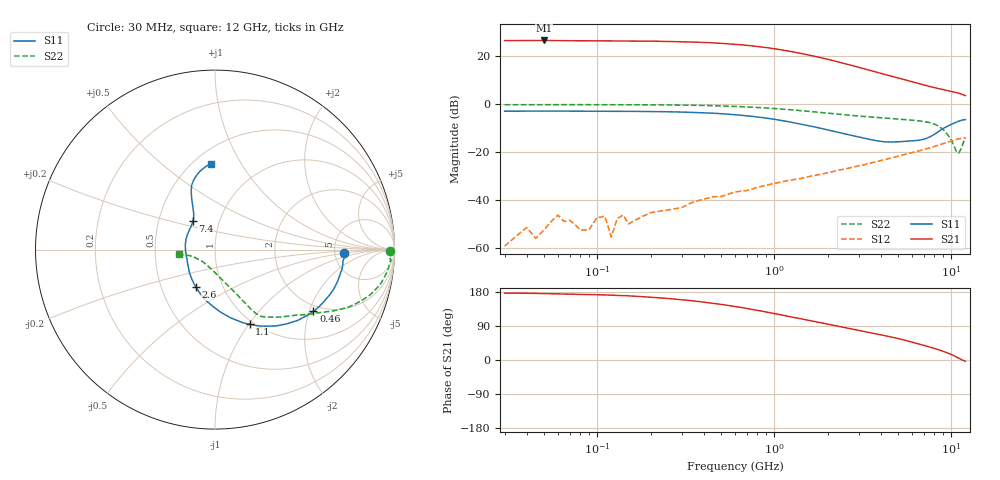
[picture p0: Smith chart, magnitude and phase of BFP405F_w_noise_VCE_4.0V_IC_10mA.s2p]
! Infineon Technologies  Discrete & RF Semiconductors
! BFP405F
! VCE =  4.0 V,  IC =  10 mA
! Common Emitter S-Parameters:  Nov 2015
# GHz  S  MA  R  50
!  f  S11  S21  S12  S22
! GHz  MAG  ANG  MAG  ANG  MAG  ANG  MAG  ANG
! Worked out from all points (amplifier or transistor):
!   239 points, 30 MHz to 12 GHz, reference 50 ohm
!   highest |S21| = 26.6 dB at 50 MHz (marker M1)
!   |S21| within 3 dB of that: start of sweep to 908.5 MHz
!   unconditionally stable (mu >= 1): 2.376 GHz to end of sweep
!   at 300 MHz: K = 0.33, MSG = 34.6 dB, |S12| = -43.1 dB
!   at 1.88 GHz: K = 0.87, MSG = 24.1 dB, |S12| = -29.0 dB
!   at 12 GHz: K = 1.39, MAG = 5.1 dB, |S12| = -14.0 dB
!   lowest NFmin = 1.67 dB at 450 MHz
!   S11 on the Smith chart (normalised r, x): 30 MHz: 6.01, -0.53; 460 MHz: 1.80, -2.14; 1.1 GHz: 0.96, -1.01; 2.6 GHz: 0.75, -0.33; 7.4 GHz: 0.75, +0.25; 12 GHz: 0.61, +0.75
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0.03  0.7166 -1.7  21.26 176.5  0.0011 83.8  0.9768 -0.5
0.05  0.7161 -3.2  21.36 175.2  0.0024 141.2  0.9826 -1.1
0.06  0.7217 -3.6  21.13 174.7  0.0049 136.0  0.9809 -1.1
0.085  0.7164 -6.0  21.02 173.0  0.0024 72.8  0.9798 -2.2
0.11  0.7154 -8.0  20.91 171.6  0.0047 76.3  0.9759 -2.9
0.12  0.7155 -8.8  20.88 171.2  0.0017 23.3  0.9841 -3.4
0.13  0.7155 -9.3  20.86 170.3  0.0042 77.2  0.9799 -3.8
0.15  0.711 -11.1  20.88 169.4  0.0032 72.9  0.9761 -4.3
0.24  0.6993 -17.4  20.43 163.0  0.0061 78.5  0.9682 -7.0
0.32  0.6818 -22.8  19.98 157.8  0.0079 74.5  0.9559 -9.2
0.46  0.6476 -32.1  18.96 149.1  0.0118 79.2  0.9313 -12.9
0.6  0.6058 -40.7  17.76 141.1  0.0149 74.0  0.9015 -16.1
0.82  0.538 -52.3  15.83 130.2  0.0189 71.7  0.852 -20.1
1.1  0.4587 -65.2  13.58 118.8  0.024 69.3  0.7937 -24.3
1.64  0.3442 -85.9  10.24 102.7  0.0321 67.0  0.7006 -29.8
2.1  0.2804 -101.9  8.298 92.6  0.0386 66.9  0.6413 -34.0
2.6  0.233 -117.4  6.772 84.0  0.0461 64.8  0.5935 -37.8
3.3  0.1932 -137.1  5.354 74.4  0.0566 63.2  0.5502 -42.3
4.5  0.1639 -169.0  3.914 61.5  0.0745 60.3  0.5076 -47.8
7.4  0.2015 127.8  2.391 35.4  0.1209 50.0  0.4205 -57.5
11  0.4432 101.1  1.703 4.9  0.1894 30.3  0.0955 -134.6
12  0.4791 92.5  1.513 -3.4  0.2006 24.7  0.2004 -172.7
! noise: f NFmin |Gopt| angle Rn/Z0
0.45  1.67  0.21  5  0.32
0.9  1.68  0.19  9  0.33
1.5  1.74  0.17  15  0.25
1.9  1.78  0.16  21  0.29
2.4  1.91  0.14  28  0.36
3  1.99  0.12  42  0.35
3.5  2.04  0.1  48  0.34
4.5  2.21  0.08  46  0.2
5.5  2.42  0.04  37  0.06
